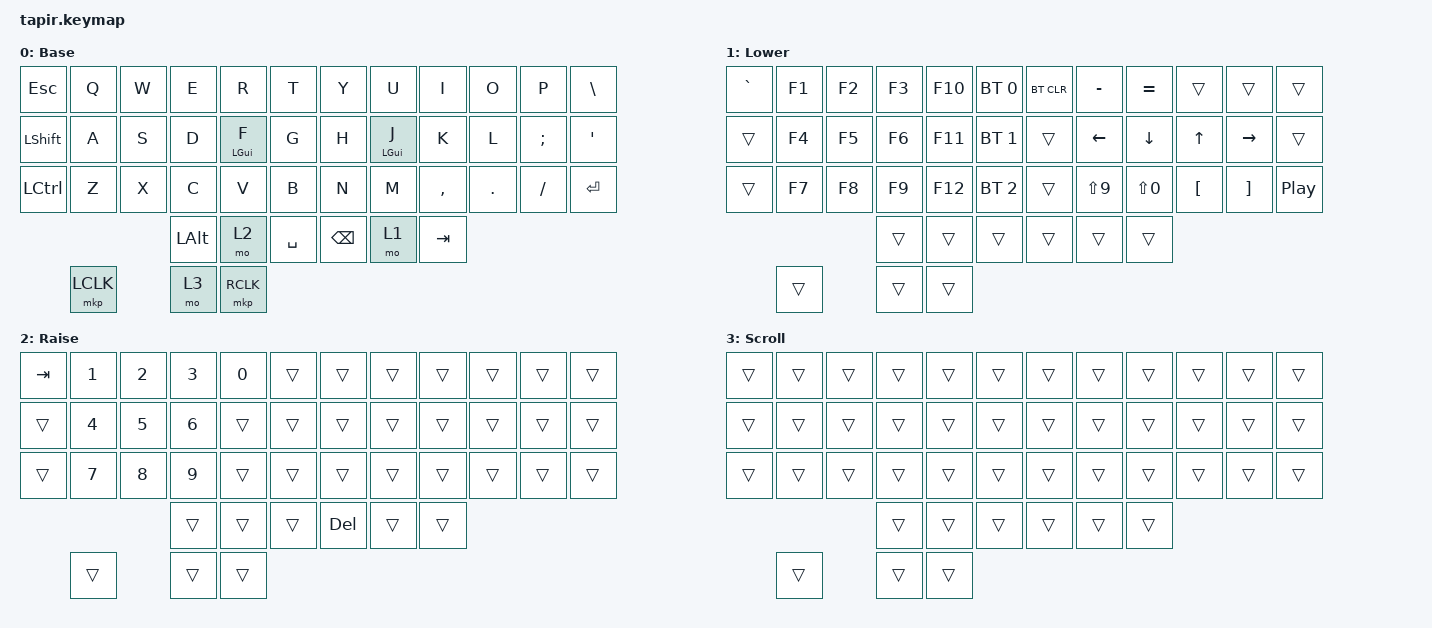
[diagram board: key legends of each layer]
/*
 * Copyright (c) 2020 The ZMK Contributors
 *
 * SPDX-License-Identifier: MIT
 */

#include <behaviors.dtsi>
#include <dt-bindings/zmk/bt.h>
#include <dt-bindings/zmk/keys.h>
#include <dt-bindings/zmk/pointing.h>

/ {
    behaviors {
        hml: hml {
            compatible = "zmk,behavior-hold-tap";
            label = "HML";
            bindings = <&kp>, <&kp>;

            #binding-cells = <2>;
            tapping-term-ms = <280>;
            quick-tap-ms = <175>;
            require-prior-idle-ms = <150>;
            flavor = "balanced";
            hold-trigger-on-release;
            hold-trigger-key-positions = <6 18 30 7 9 10 11 19 20 21 22 23 31 32 33 34 35 8 39 40 41>;
        };

        hmr: hmr {
            compatible = "zmk,behavior-hold-tap";
            label = "HMR";
            bindings = <&kp>, <&kp>;

            #binding-cells = <2>;
            tapping-term-ms = <280>;
            quick-tap-ms = <175>;
            require-prior-idle-ms = <150>;
            flavor = "balanced";
            hold-trigger-key-positions = <0 1 2 3 4 5 12 13 14 15 16 17 24 25 26 27 28 29 36 37 38>;
            hold-trigger-on-release;
        };
    };

    keymap {
        compatible = "zmk,keymap";

        def {
            display-name = "Base";
            bindings = <
&kp ESC     &kp Q  &kp W  &kp E     &kp R            &kp T        &kp Y          &kp U            &kp I      &kp O    &kp P     &kp BACKSLASH
&kp LSHIFT  &kp A  &kp S  &kp D     &hml LEFT_GUI F  &kp G        &kp H          &hmr LEFT_GUI J  &kp K      &kp L    &kp SEMI  &kp SINGLE_QUOTE
&kp LCTRL   &kp Z  &kp X  &kp C     &kp V            &kp B        &kp N          &kp M            &kp COMMA  &kp DOT  &kp FSLH  &kp ENTER
                          &kp LALT  &mo 2            &kp SPACE    &kp BACKSPACE  &mo 1            &kp TAB
            &mkp LCLK  &mo 3     &mkp RCLK
            >;
        };

        nav {
            display-name = "Lower";
            bindings = <
&kp GRAVE  &kp F1  &kp F2  &kp F3  &kp F10  &bt BT_SEL 0    &bt BT_CLR  &kp MINUS   &kp EQUAL   &trans            &trans             &trans
&trans     &kp F4  &kp F5  &kp F6  &kp F11  &bt BT_SEL 1    &trans      &kp LEFT    &kp DOWN    &kp UP            &kp RIGHT          &trans
&trans     &kp F7  &kp F8  &kp F9  &kp F12  &bt BT_SEL 2    &trans      &kp LS(N9)  &kp LS(N0)  &kp LEFT_BRACKET  &kp RIGHT_BRACKET  &kp C_PLAY_PAUSE
                           &trans  &trans   &trans          &trans      &trans      &trans
            &trans     &trans    &trans
            >;
        };

        num {
            display-name = "Raise";
            bindings = <
&kp TAB  &kp N1  &kp N2  &kp N3  &kp N0  &trans    &trans   &trans  &trans  &trans  &trans  &trans
&trans   &kp N4  &kp N5  &kp N6  &trans  &trans    &trans   &trans  &trans  &trans  &trans  &trans
&trans   &kp N7  &kp N8  &kp N9  &trans  &trans    &trans   &trans  &trans  &trans  &trans  &trans
                         &trans  &trans  &trans    &kp DEL  &trans  &trans
            &trans     &trans    &trans
            >;
        };

        scroll {
            display-name = "Scroll";
            bindings = <
                &trans &trans &trans &trans &trans &trans &trans &trans &trans &trans &trans &trans
                &trans &trans &trans &trans &trans &trans &trans &trans &trans &trans &trans &trans
                &trans &trans &trans &trans &trans &trans &trans &trans &trans &trans &trans &trans
                &trans &trans &trans &trans &trans &trans
                &trans &trans &trans
            >;
        };

        extra_2 { status = "reserved"; };

        extra_3 { status = "reserved"; };
    };
};
